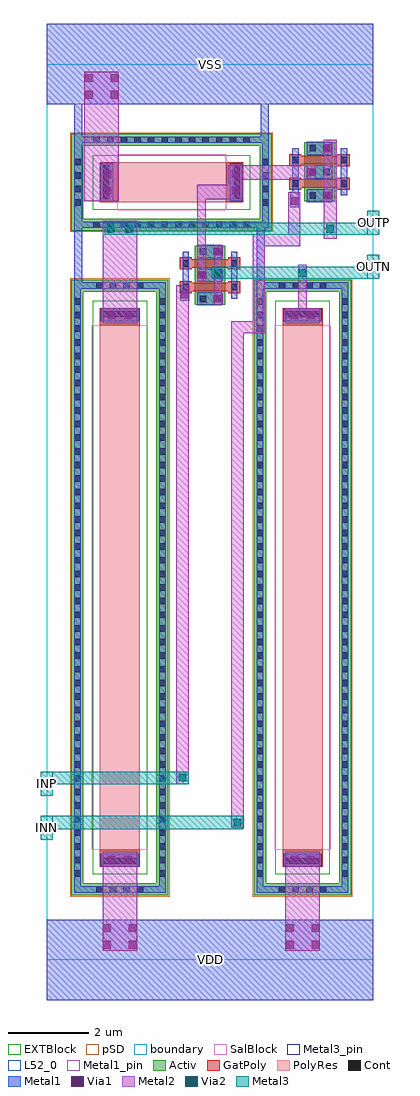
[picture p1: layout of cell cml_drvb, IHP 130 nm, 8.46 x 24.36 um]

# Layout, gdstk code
from math import pi, radians
import gdstk
lib = gdstk.Library(unit=1e-6, precision=1e-09)
def R(c, l, rs):  # rectangles x0, y0, x1, y1
    for r in rs: c.add(gdstk.rectangle(r[:2], r[2:], *l))
def A(c, l, x, y, w, h, nx, ny, dx, dy):  # array of equal rectangles
    R(c, l, [(x+i*dx, y+j*dy, x+i*dx+w, y+j*dy+h) for i in range(nx) for j in range(ny)])
Activ = (1, 0)
GatPoly = (5, 0)
Cont = (6, 0)
Metal1 = (8, 0)
Metal1_pin = (8, 2)
Metal2 = (10, 0)
pSD = (14, 0)
Via1 = (19, 0)
SalBlock = (28, 0)
Via2 = (29, 0)
Metal3 = (30, 0)
Metal3_pin = (30, 2)
L52_0 = (52, 0)
EXTBlock = (111, 0)
PolyRes = (128, 0)
boundary = (189, 4)

sg13_lv_nmos_5a5r5e = lib.new_cell('sg13_lv_nmos_5A5R5E')
R(sg13_lv_nmos_5a5r5e, Activ, [(-0.74,-0.385,0.74,0.385)])
R(sg13_lv_nmos_5a5r5e, GatPoly, [(-0.445,-0.755,-0.145,-0.455), (0.145,-0.755,0.445,-0.455), (-0.4,-0.455,-0.19,0.455), (0.19,-0.455,0.4,0.455), (-0.445,0.455,-0.145,0.755), (0.145,0.455,0.445,0.755)])
A(sg13_lv_nmos_5a5r5e, Cont, -0.67, -0.25, 0.16, 0.16, 3, 2, 0.59, 0.34)
R(sg13_lv_nmos_5a5r5e, Cont, [(-0.375,-0.685,-0.215,-0.525), (0.215,-0.685,0.375,-0.525), (-0.375,0.525,-0.215,0.685), (0.215,0.525,0.375,0.685)])
A(sg13_lv_nmos_5a5r5e, Metal1, -0.72, -0.315, 0.26, 0.63, 3, 1, 0.59, 0)
R(sg13_lv_nmos_5a5r5e, Metal1, [(-0.59,-0.685,0.59,-0.525), (-0.59,0.525,0.59,0.685)])
sg13_lv_nmos_5a5r5e.add(gdstk.Label('G', (0.295,0.605), layer=8, texttype=25))
sg13_lv_nmos_5a5r5e.add(gdstk.Label('G', (-0.295,0.605), layer=8, texttype=25))
sg13_lv_nmos_5a5r5e.add(gdstk.Label('D0', (-0.59,0), layer=8, texttype=25))
sg13_lv_nmos_5a5r5e.add(gdstk.Label('S1', (0,0), layer=8, texttype=25))

rppd_2zap6p = lib.new_cell('rppd_2ZAP6P')
R(rppd_2zap6p, Activ, [(-1.21,-7.685,1.21,-7.385), (-1.21,-7.385,-0.91,7.385), (0.91,-7.385,1.21,7.385), (-1.21,7.385,1.21,7.685)])
R(rppd_2zap6p, GatPoly, [(-0.5,-6.975,0.5,-6.545), (-0.5,6.545,0.5,6.975)])
A(rppd_2zap6p, Cont, -0.59, -7.615, 0.16, 0.16, 4, 2, 0.34, 15.07)
A(rppd_2zap6p, Cont, -1.14, -7.22, 0.16, 0.16, 1, 43, 0, 0.34)
A(rppd_2zap6p, Cont, 0.98, -7.22, 0.16, 0.16, 1, 43, 0, 0.34)
R(rppd_2zap6p, Cont, [(-0.43,-6.905,0.43,-6.745), (-0.43,6.745,0.43,6.905)])
R(rppd_2zap6p, Metal1, [(-1.14,-7.615,1.14,-7.455), (-1.14,-7.455,-0.98,7.455), (0.98,-7.455,1.14,7.455), (-0.48,-6.955,0.48,-6.64), (-0.48,6.64,0.48,6.955), (-1.14,7.455,1.14,7.615)])
R(rppd_2zap6p, Metal2, [(-0.43,-6.97,0.43,-6.6), (-0.43,6.6,0.43,6.97)])
R(rppd_2zap6p, pSD, [(-1.24,-7.715,1.24,7.715)])
R(rppd_2zap6p, Via1, [(-0.3,-6.88,-0.11,-6.69), (0.11,-6.88,0.3,-6.69), (-0.3,6.69,-0.11,6.88), (0.11,6.69,0.3,6.88)])
R(rppd_2zap6p, SalBlock, [(-0.7,-6.545,0.7,6.545)])
R(rppd_2zap6p, L52_0, [(-0.5,-6.545,0.5,6.545)])
R(rppd_2zap6p, EXTBlock, [(-0.68,-7.155,0.68,7.155)])
R(rppd_2zap6p, PolyRes, [(-0.5,-6.545,0.5,6.545)])
R(rppd_2zap6p, boundary, [(-1.06,-7.535,1.06,7.535)])
rppd_2zap6p.add(gdstk.Label('B', (0,-7.535), layer=8, texttype=25))
rppd_2zap6p.add(gdstk.Label('R1', (0,6.825), layer=8, texttype=25))
rppd_2zap6p.add(gdstk.Label('R2', (0,-6.825), layer=8, texttype=25))

rppd_acunyl = lib.new_cell('rppd_ACUNYL')
R(rppd_acunyl, Activ, [(-1.21,-2.5,1.21,-2.2), (-1.21,-2.2,-0.91,2.2), (0.91,-2.2,1.21,2.2), (-1.21,2.2,1.21,2.5)])
R(rppd_acunyl, GatPoly, [(-0.5,-1.79,0.5,-1.36), (-0.5,1.36,0.5,1.79)])
A(rppd_acunyl, Cont, -0.59, -2.43, 0.16, 0.16, 4, 2, 0.34, 4.7)
A(rppd_acunyl, Cont, -1.14, -1.95, 0.16, 0.16, 1, 12, 0, 0.34)
A(rppd_acunyl, Cont, 0.98, -1.95, 0.16, 0.16, 1, 12, 0, 0.34)
R(rppd_acunyl, Cont, [(-0.43,-1.72,0.43,-1.56), (-0.43,1.56,0.43,1.72)])
R(rppd_acunyl, Metal1, [(-1.14,-2.43,1.14,-2.27), (-1.14,-2.27,-0.98,2.27), (0.98,-2.27,1.14,2.27), (-0.48,-1.77,0.48,-1.455), (-0.48,1.455,0.48,1.77), (-1.14,2.27,1.14,2.43)])
R(rppd_acunyl, Metal2, [(-0.43,-1.785,0.43,-1.415), (-0.43,1.415,0.43,1.785)])
R(rppd_acunyl, pSD, [(-1.24,-2.53,1.24,2.53)])
R(rppd_acunyl, Via1, [(-0.3,-1.695,-0.11,-1.505), (0.11,-1.695,0.3,-1.505), (-0.3,1.505,-0.11,1.695), (0.11,1.505,0.3,1.695)])
R(rppd_acunyl, SalBlock, [(-0.7,-1.36,0.7,1.36)])
R(rppd_acunyl, L52_0, [(-0.5,-1.36,0.5,1.36)])
R(rppd_acunyl, EXTBlock, [(-0.68,-1.97,0.68,1.97)])
R(rppd_acunyl, PolyRes, [(-0.5,-1.36,0.5,1.36)])
R(rppd_acunyl, boundary, [(-1.06,-2.35,1.06,2.35)])
rppd_acunyl.add(gdstk.Label('B', (0,-2.35), layer=8, texttype=25))
rppd_acunyl.add(gdstk.Label('R1', (0,1.64), layer=8, texttype=25))
rppd_acunyl.add(gdstk.Label('R2', (0,-1.64), layer=8, texttype=25))

cml_drvb = lib.new_cell('cml_drvb')
A(cml_drvb, Metal1, 3.76, 16.335, 0.63, 0.33, 1, 3, 0, 0.59)
A(cml_drvb, Metal1, 6.5, 18.91, 0.63, 0.33, 1, 3, 0, 0.59)
R(cml_drvb, Metal1, [(0,-1,8.16,1), (3.34,16.455,3.56,16.845), (0.69,16.91,0.89,21.36), (5.25,16.91,5.45,18.27), (6.08,18.785,6.3,19.175), (5.35,20.55,5.55,21.36), (0,21.36,8.16,23.36)])
R(cml_drvb, Metal1_pin, [(0,-1,8.16,1), (0,21.36,8.16,23.36)])
R(cml_drvb, Metal2, [(1.4,0.23,2.26,2.47), (5.96,0.23,6.82,2.47), (4.61,3.3,4.92,15.64), (3.24,4.38,3.55,16.845), (4.61,15.64,5.45,15.94), (1.4,15.9,2.26,18.45), (6.28,15.9,6.5,17.35), (5.15,15.94,5.45,17.81), (4.18,16.355,4.39,17.845), (3.76,16.945,3.97,18.98), (5.15,17.81,6.335,18.11), (6.92,18,7.24,20.465), (6.035,18.11,6.335,19.16), (0.945,18.94,1.805,22.165), (3.76,18.98,4.535,19.35), (4.6,19.475,6.71,19.84)])
R(cml_drvb, Via1, [(1.415,0.285,1.605,0.475), (2.055,0.285,2.245,0.475), (5.975,0.285,6.165,0.475), (6.615,0.285,6.805,0.475), (1.415,0.705,1.605,0.895), (2.055,0.705,2.245,0.895), (5.975,0.705,6.165,0.895), (6.615,0.705,6.805,0.895), (4.19,16.41,4.38,16.6), (3.35,16.52,3.54,16.71), (3.77,17,3.96,17.19), (4.19,17.59,4.38,17.78), (6.09,18.85,6.28,19.04), (6.93,18.985,7.12,19.175), (6.51,19.575,6.7,19.765), (6.93,20.165,7.12,20.355), (0.96,21.5,1.15,21.69), (1.6,21.5,1.79,21.69), (0.96,21.92,1.15,22.11), (1.6,21.92,1.79,22.11)])
R(cml_drvb, Via2, [(4.67,3.34,4.86,3.53), (3.3,4.455,3.49,4.645), (6.295,17.055,6.485,17.245), (4.19,17.06,4.38,17.25), (1.5,18.155,1.69,18.345), (1.96,18.155,2.15,18.345), (6.98,18.155,7.17,18.345)])
R(cml_drvb, Metal3, [(-0.15,3,0.15,3.26), (-0.15,3.26,4.91,3.6), (-0.15,4.1,0.15,4.38), (-0.15,4.38,3.55,4.7), (4.12,17,8.31,17.3), (8.01,17.3,8.31,17.6), (1.45,18.1,8.31,18.4), (8.01,18.4,8.31,18.7)])
R(cml_drvb, Metal3_pin, [(-0.15,3,0.15,3.6), (-0.15,4.1,0.15,4.7), (8.01,17,8.31,17.6), (8.01,18.1,8.31,18.7)])
R(cml_drvb, boundary, [(0,0,8.16,22.36)])
cml_drvb.add(gdstk.Reference(sg13_lv_nmos_5a5r5e, (4.08,17.09), rotation=3*pi/2))
cml_drvb.add(gdstk.Reference(sg13_lv_nmos_5a5r5e, (6.815,19.67), rotation=3*pi/2))
cml_drvb.add(gdstk.Reference(rppd_2zap6p, (6.39,9.295)))
cml_drvb.add(gdstk.Reference(rppd_2zap6p, (1.83,9.295), rotation=pi))
cml_drvb.add(gdstk.Reference(rppd_acunyl, (3.12,19.41), rotation=3*pi/2))
cml_drvb.add(gdstk.Label('VDD', (4.08,0), layer=8, texttype=25))
cml_drvb.add(gdstk.Label('VSS', (4.08,22.36), layer=8, texttype=25))
cml_drvb.add(gdstk.Label('INP', (0,4.4), layer=30, texttype=25))
cml_drvb.add(gdstk.Label('OUTN', (8.16,17.3), layer=30, texttype=25))
cml_drvb.add(gdstk.Label('OUTP', (8.16,18.4), layer=30, texttype=25))
cml_drvb.add(gdstk.Label('INN', (0,3.3), layer=30, texttype=25))

lib.write_gds('cml_drvb.gds')
